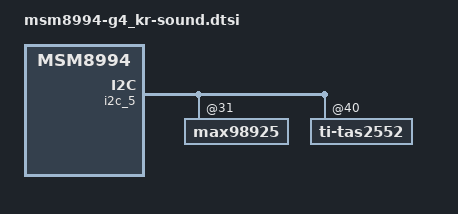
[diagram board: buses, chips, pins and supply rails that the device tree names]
/* Copyright (c) 2014, The Linux Foundation. All rights reserved.
 *
 * This program is free software; you can redistribute it and/or modify
 * it under the terms of the GNU General Public License version 2 and
 * only version 2 as published by the Free Software Foundation.
 *
 * This program is distributed in the hope that it will be useful,
 * but WITHOUT ANY WARRANTY; without even the implied warranty of
 * MERCHANTABILITY or FITNESS FOR A PARTICULAR PURPOSE.  See the
 * GNU General Public License for more details.
 */

#include "../msm8994-g4_common/msm8994-common-sound.dtsi"

&soc {
	i2c_5: i2c@f9967000 {
		max98925@31 {
			status = "ok";
			revision = "rev_c";
		};
		ti-tas2552@40 {
			status = "ok";
			revision = "rev_d...";
		};
	};
};
